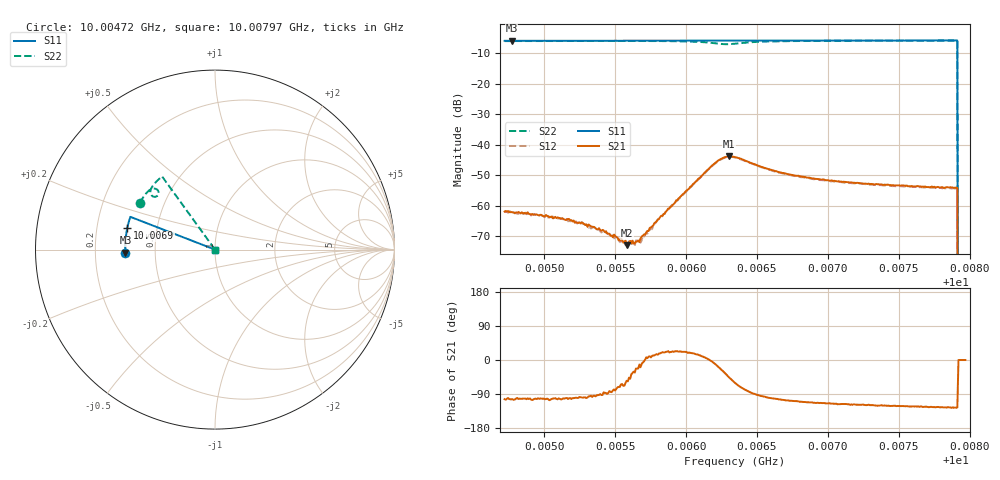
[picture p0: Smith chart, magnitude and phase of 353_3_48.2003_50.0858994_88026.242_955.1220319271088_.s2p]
#  HZ  S  RI  R  50.00
! Rohde & Schwarz Vector Network Analyzer
! Rohde-Schwarz,ZNB20-2Port,1311601062101988,3.16
! Created: UTC 3/20/2024, 11:51:53 AM
! freq[Hz]  re:S11  im:S11  re:S21  im:S21  re:S12  im:S12  re:S22  im:S22
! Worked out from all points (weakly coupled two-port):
!   401 points, 10.00472 GHz to 10.00797 GHz, reference 50 ohm
!   highest |S21| = -43.84 dB at 10.0063 GHz (marker M1); lowest = -72.9 dB at 10.00558 GHz (marker M2)
!   lowest |S11| = -6.0 dB at 10.00477 GHz (marker M3), VSWR 2.99, Z = 16.7 - j0.771 ohm
!   |S11| at or under -10 dB: 10.00791 GHz to end of sweep
!   |S22| runs from - to -6.0 dB; largest |S21 - S12| = 0.00037
!   S11 on the Smith chart (normalised r, x): 10.00472 GHz: 0.33, -0.02; 10.0069 GHz: 0.33, +0.11; 10.00797 GHz: 1.00, +0.00
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1.000472e10  -0.4987 -0.0204  -0.000185 -0.000785  -0.000135 -0.00079  -0.4188 0.2611
1.0004769e10  -0.4988 -0.0173  -0.000185 -0.000769  -0.000152 -0.000769  -0.4171 0.2641
1.0005094e10  -0.4998 0.00401  -0.000153 -0.000629  -0.000106 -0.000614  -0.4056 0.2832
1.0005265e10  -0.4999 0.0151  -8.35e-05 -0.00053  -5.37e-05 -0.00054  -0.3988 0.2933
1.0005435e10  -0.4999 0.0261  1.96e-05 -0.000386  4.37e-05 -0.00036  -0.3914 0.3037
1.0005557e10  -0.4996 0.0341  9.45e-05 -0.000232  0.000123 -0.000219  -0.3856 0.3111
1.0005582e10  -0.4996 0.0357  0.00013 -0.000185  0.000174 -0.000198  -0.3844 0.3125
1.0005606e10  -0.4995 0.0372  0.000174 -0.000201  0.000203 -0.000168  -0.3831 0.314
1.0005622e10  -0.4994 0.0383  0.000227 -0.000155  0.000201 -0.000146  -0.3824 0.315
1.0005671e10  -0.4993 0.0414  0.00025 -5.25e-05  0.000272 -4.32e-05  -0.3795 0.318
1.0005809e10  -0.4986 0.0504  0.000583 0.00018  0.00057 0.00021  -0.3706 0.3267
1.0006191e10  -0.4961 0.0749  0.00468 -0.000522  0.00461 -0.000293  -0.3181 0.3297
1.0006248e10  -0.4954 0.0783  0.0053 -0.00251  0.00534 -0.00215  -0.314 0.3127
1.0006305e10  -0.495 0.0819  0.00444 -0.00464  0.00458 -0.00433  -0.3248 0.2968
1.0006345e10  -0.4948 0.0843  0.00308 -0.00545  0.0033 -0.00522  -0.3375 0.2941
1.0006662e10  -0.4919 0.1045  -0.000855 -0.00343  -0.000694 -0.00341  -0.357 0.3373
1.000689e10  -0.4892 0.119  -0.00105 -0.00262  -0.000938 -0.0026  -0.3467 0.3558
1.0006898e10  -0.4891 0.1196  -0.00109 -0.00258  -0.000917 -0.00256  -0.3461 0.3564
1.0007434e10  -0.4807 0.1532  -0.00113 -0.00187  -0.00103 -0.00188  -0.3197 0.3862
1.0007898e10  -0.4718 0.1816  -0.00114 -0.00162  -0.00105 -0.0016  -0.2961 0.4073
1.0007938e10  0 0  0 0  0 0  0 0
1.0007971e10  0 0  0 0  0 0  0 0
